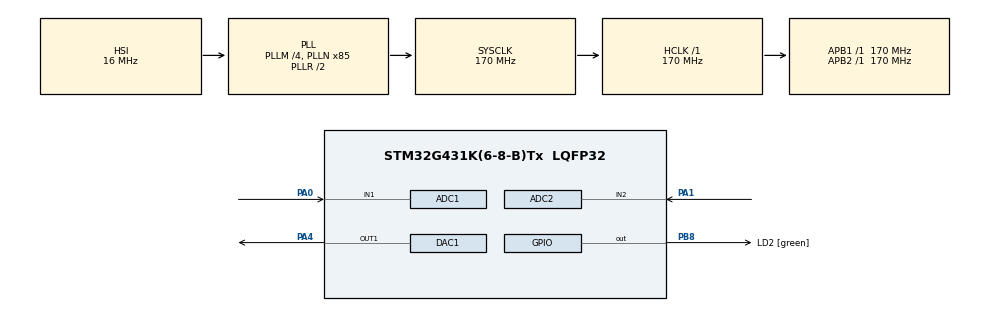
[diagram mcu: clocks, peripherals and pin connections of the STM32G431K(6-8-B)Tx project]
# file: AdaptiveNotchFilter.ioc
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ADC1.Channel-2\#ChannelRegularConversion=ADC_CHANNEL_1
ADC1.ClockPrescaler=ADC_CLOCK_ASYNC_DIV4
ADC1.ContinuousConvMode=DISABLE
ADC1.DMAAccessModeView=ENABLE
ADC1.DMAContinuousRequests=ENABLE
ADC1.ExternalTrigConv=ADC_EXTERNALTRIG_T6_TRGO
ADC1.Mode=ADC_DUALMODE_REGSIMULT
ADC1.NbrOfConversionFlag=1
ADC1.OffsetNumber-2\#ChannelRegularConversion=ADC_OFFSET_NONE
ADC1.OversamplingMode=ENABLE
ADC1.Rank-2\#ChannelRegularConversion=1
ADC1.Ratio=ADC_OVERSAMPLING_RATIO_256
ADC1.RightBitShift=ADC_RIGHTBITSHIFT_8
ADC1.SamplingTime-2\#ChannelRegularConversion=ADC_SAMPLETIME_2CYCLES_5
ADC1.master=1
ADC2.Channel-2\#ChannelRegularConversion=ADC_CHANNEL_2
ADC2.ClockPrescaler=ADC_CLOCK_ASYNC_DIV4
ADC2.DMAAccessModeView=ENABLE
ADC2.Mode=ADC_DUALMODE_REGSIMULT
ADC2.NbrOfConversionFlag=1
ADC2.OffsetNumber-2\#ChannelRegularConversion=ADC_OFFSET_NONE
ADC2.OversamplingMode=ENABLE
ADC2.OversamplingStopReset=ADC_REGOVERSAMPLING_CONTINUED_MODE
ADC2.Rank-2\#ChannelRegularConversion=1
ADC2.Ratio=ADC_OVERSAMPLING_RATIO_256
ADC2.RightBitShift=ADC_RIGHTBITSHIFT_8
ADC2.SamplingTime-2\#ChannelRegularConversion=ADC_SAMPLETIME_2CYCLES_5
DAC1.DAC_Trigger_OUT1-DAC_OUT1=DAC_TRIGGER_T6_TRGO
Dma.ADC1.0.Direction=DMA_PERIPH_TO_MEMORY
Dma.ADC1.0.EventEnable=DISABLE
Dma.ADC1.0.Instance=DMA1_Channel1
Dma.ADC1.0.MemDataAlignment=DMA_MDATAALIGN_WORD
Dma.ADC1.0.MemInc=DMA_MINC_ENABLE
Dma.ADC1.0.Mode=DMA_CIRCULAR
Dma.ADC1.0.PeriphDataAlignment=DMA_PDATAALIGN_WORD
Dma.ADC1.0.PeriphInc=DMA_PINC_DISABLE
Dma.ADC1.0.Polarity=HAL_DMAMUX_REQ_GEN_RISING
Dma.ADC1.0.Priority=DMA_PRIORITY_MEDIUM
Dma.ADC1.0.RequestNumber=1
Dma.ADC1.0.SignalID=NONE
Dma.ADC1.0.SyncEnable=DISABLE
Dma.ADC1.0.SyncPolarity=HAL_DMAMUX_SYNC_NO_EVENT
Dma.ADC1.0.SyncRequestNumber=1
Dma.ADC1.0.SyncSignalID=NONE
Dma.DAC1_CH1.1.Direction=DMA_MEMORY_TO_PERIPH
Dma.DAC1_CH1.1.EventEnable=DISABLE
Dma.DAC1_CH1.1.Instance=DMA2_Channel2
Dma.DAC1_CH1.1.MemDataAlignment=DMA_MDATAALIGN_WORD
Dma.DAC1_CH1.1.MemInc=DMA_MINC_ENABLE
Dma.DAC1_CH1.1.Mode=DMA_CIRCULAR
Dma.DAC1_CH1.1.PeriphDataAlignment=DMA_PDATAALIGN_WORD
Dma.DAC1_CH1.1.PeriphInc=DMA_PINC_DISABLE
Dma.DAC1_CH1.1.Polarity=HAL_DMAMUX_REQ_GEN_RISING
Dma.DAC1_CH1.1.Priority=DMA_PRIORITY_HIGH
Dma.DAC1_CH1.1.RequestNumber=1
Dma.DAC1_CH1.1.SignalID=NONE
Dma.DAC1_CH1.1.SyncEnable=DISABLE
Dma.DAC1_CH1.1.SyncPolarity=HAL_DMAMUX_SYNC_NO_EVENT
Dma.DAC1_CH1.1.SyncRequestNumber=1
Dma.DAC1_CH1.1.SyncSignalID=NONE
Dma.Request0=ADC1
Dma.Request1=DAC1_CH1
Mcu.Family=STM32G4
Mcu.Name=STM32G431K(6-8-B)Tx
Mcu.Package=LQFP32
NVIC.DMA1_Channel1_IRQn=true\:0\:0\:false\:false\:true\:false\:true\:true
NVIC.DMA2_Channel2_IRQn=true\:0\:0\:false\:false\:true\:false\:true\:true
NVIC.PriorityGroup=NVIC_PRIORITYGROUP_4
PA0.Mode=IN1-Single-Ended
PA0.Signal=ADC1_IN1
PA1.Mode=IN2-Single-Ended
PA1.Signal=ADC2_IN2
PA13.GPIO_Label=T_SWDIO
PA13.Mode=Serial_Wire
PA13.Signal=SYS_JTMS-SWDIO
PA14.GPIO_Label=T_SWCLK
PA14.Mode=Serial_Wire
PA14.Signal=SYS_JTCK-SWCLK
PA4.Signal=COMP_DAC11_group
PB3.GPIO_Label=T_SWO
PB3.Signal=SYS_JTDO-SWO
PB8-BOOT0.GPIO_Label=LD2 [green]
PB8-BOOT0.Signal=GPIO_Output
ProjectManager.HeapSize=0x200
ProjectManager.StackSize=0x400
ProjectManager.TargetToolchain=STM32CubeIDE
RCC.ADC12Freq_Value=170000000
RCC.AHBFreq_Value=170000000
RCC.APB1Freq_Value=170000000
RCC.APB1TimFreq_Value=170000000
RCC.APB2Freq_Value=170000000
RCC.APB2TimFreq_Value=170000000
RCC.CortexFreq_Value=170000000
RCC.EXTERNAL_CLOCK_VALUE=12288000
RCC.HCLKFreq_Value=170000000
RCC.HSE_VALUE=24000000
RCC.HSI48_VALUE=48000000
RCC.HSI_VALUE=16000000
RCC.LSE_VALUE=32768
RCC.PLLM=RCC_PLLM_DIV4
RCC.PLLN=85
RCC.SYSCLKFreq_VALUE=170000000
RCC.SYSCLKSource=RCC_SYSCLKSOURCE_PLLCLK
RCC.USBFreq_Value=170000000
RCC.VCOOutputFreq_Value=340000000
SH.COMP_DAC11_group.0=DAC1_OUT1,DAC_OUT1
TIM6.PeriodNoDither=1000-1
TIM6.Prescaler=170-1
TIM6.TIM_MasterOutputTrigger=TIM_TRGO_UPDATE
VP_TIM6_VS_ClockSourceINT.Mode=Enable_Timer
board=NUCLEO-G431KB

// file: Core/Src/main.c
/* USER CODE BEGIN Header */
/**
 ******************************************************************************
 * @file           : main.c
 * @brief          : Main program body
 ******************************************************************************
 * @attention
 *
 * Copyright (c) 2023 STMicroelectronics.
 * All rights reserved.
 *
 * This software is licensed under terms that can be found in the LICENSE file
 * in the root directory of this software component.
 * If no LICENSE file comes with this software, it is provided AS-IS.
 *
 ******************************************************************************
 */
/* USER CODE END Header */
#include "main.h"

/* USER CODE BEGIN Includes */
#include <notch_filter.h>

/* USER CODE END Includes */

/* USER CODE BEGIN PTD */

// Input buffer type for Multimode ADC
typedef union buf{
	uint32_t CDR;
	struct {
		uint16_t inp;
		uint16_t ref;
	};
} inp_buf;

/* USER CODE END PTD */

/* USER CODE BEGIN PD */
#define FS 1000				// Sample Rate (based on configuration of TIM6)
#define FN_INIT FS / 4.0	// Initial Notch Frequency

#define R_ANF 0.6			// Magnitude of r for the reference notch filter
#define R_NF 0.9			// Magnitude of r for the input notch filter
#define LAMBDA 0.4			// Learning Gain

//#define LOG					// uncomment to log

/* USER CODE END PD */

ADC_HandleTypeDef hadc1;
ADC_HandleTypeDef hadc2;
DMA_HandleTypeDef hdma_adc1;

DAC_HandleTypeDef hdac1;
DMA_HandleTypeDef hdma_dac1_ch1;

TIM_HandleTypeDef htim6;

void SystemClock_Config(void);
static void MX_GPIO_Init(void);
static void MX_DMA_Init(void);
static void MX_ADC1_Init(void);
static void MX_TIM6_Init(void);
static void MX_ADC2_Init(void);
static void MX_DAC1_Init(void);

/* USER CODE BEGIN 0 */

// Filter Objects
NotchFilter nf;
NotchFilter anf;

// Parameter Buffers
double an[halfBUF_SIZE];

// Signal Buffers
inp_buf  inputBuffer[BUF_SIZE];
uint32_t ADC_inp[BUF_SIZE];
uint32_t ADC_ref[BUF_SIZE];

uint32_t DAC_out[BUF_SIZE];
uint32_t DAC_err[BUF_SIZE];

#ifdef LOG
// Log Variables
uint32_t ADC_input;
uint32_t ADC_reference;
uint32_t DAC_output;
uint32_t DAC_error;
int32_t  fn;
#endif

/* USER CODE END 0 */

int main(void)
{

  /* MCU Configuration--------------------------------------------------------*/

  /* Reset of all peripherals, Initializes the Flash interface and the Systick. */
  HAL_Init();

  /* Configure the system clock */
  SystemClock_Config();

  /* Initialize all configured peripherals */
  MX_GPIO_Init();
  MX_DMA_Init();
  MX_ADC1_Init();
  MX_TIM6_Init();
  MX_ADC2_Init();
  MX_DAC1_Init();
  /* USER CODE BEGIN 2 */
	// Initialise Notch Filters
	NF_Init(&nf,  R_NF,  FN_INIT, FS);
	NF_Init(&anf, R_ANF, FN_INIT, FS);

//	NF_SetNotchFreq(&anf, 250, FS);

	// Start Peripherals
	if (HAL_ADCEx_Calibration_Start(&hadc1, ADC_SINGLE_ENDED) != HAL_OK) {
		Error_Handler(); }
	if (HAL_ADCEx_Calibration_Start(&hadc2, ADC_SINGLE_ENDED) != HAL_OK) {
		Error_Handler(); }
	if (HAL_ADCEx_MultiModeStart_DMA(&hadc1, &inputBuffer->CDR, BUF_SIZE) != HAL_OK) {
		Error_Handler(); }

	if (HAL_DAC_Start_DMA(&hdac1, DAC_CHANNEL_1, DAC_err, BUF_SIZE, DAC_ALIGN_12B_R) != HAL_OK) {
		Error_Handler(); }

	if (HAL_TIM_Base_Start(&htim6) != HAL_OK) {
		Error_Handler(); }

  /* USER CODE END 2 */

  /* Infinite loop */
	while (1)
	{

	}
}

void SystemClock_Config(void)
{
  RCC_OscInitTypeDef RCC_OscInitStruct = {0};
  RCC_ClkInitTypeDef RCC_ClkInitStruct = {0};

  /** Configure the main internal regulator output voltage
  */
  HAL_PWREx_ControlVoltageScaling(PWR_REGULATOR_VOLTAGE_SCALE1_BOOST);

  /** Initializes the RCC Oscillators according to the specified parameters
  * in the RCC_OscInitTypeDef structure.
  */
  RCC_OscInitStruct.OscillatorType = RCC_OSCILLATORTYPE_HSI;
  RCC_OscInitStruct.HSIState = RCC_HSI_ON;
  RCC_OscInitStruct.HSICalibrationValue = RCC_HSICALIBRATION_DEFAULT;
  RCC_OscInitStruct.PLL.PLLState = RCC_PLL_ON;
  RCC_OscInitStruct.PLL.PLLSource = RCC_PLLSOURCE_HSI;
  RCC_OscInitStruct.PLL.PLLM = RCC_PLLM_DIV4;
  RCC_OscInitStruct.PLL.PLLN = 85;
  RCC_OscInitStruct.PLL.PLLP = RCC_PLLP_DIV2;
  RCC_OscInitStruct.PLL.PLLQ = RCC_PLLQ_DIV2;
  RCC_OscInitStruct.PLL.PLLR = RCC_PLLR_DIV2;
  if (HAL_RCC_OscConfig(&RCC_OscInitStruct) != HAL_OK)
  {
    Error_Handler();
  }

  /** Initializes the CPU, AHB and APB buses clocks
  */
  RCC_ClkInitStruct.ClockType = RCC_CLOCKTYPE_HCLK|RCC_CLOCKTYPE_SYSCLK
                              |RCC_CLOCKTYPE_PCLK1|RCC_CLOCKTYPE_PCLK2;
  RCC_ClkInitStruct.SYSCLKSource = RCC_SYSCLKSOURCE_PLLCLK;
  RCC_ClkInitStruct.AHBCLKDivider = RCC_SYSCLK_DIV1;
  RCC_ClkInitStruct.APB1CLKDivider = RCC_HCLK_DIV1;
  RCC_ClkInitStruct.APB2CLKDivider = RCC_HCLK_DIV1;

  if (HAL_RCC_ClockConfig(&RCC_ClkInitStruct, FLASH_LATENCY_4) != HAL_OK)
  {
    Error_Handler();
  }
}

static void MX_ADC1_Init(void)
{

  ADC_MultiModeTypeDef multimode = {0};
  ADC_ChannelConfTypeDef sConfig = {0};

  /** Common config
  */
  hadc1.Instance = ADC1;
  hadc1.Init.ClockPrescaler = ADC_CLOCK_ASYNC_DIV4;
  hadc1.Init.Resolution = ADC_RESOLUTION_12B;
  hadc1.Init.DataAlign = ADC_DATAALIGN_RIGHT;
  hadc1.Init.GainCompensation = 0;
  hadc1.Init.ScanConvMode = ADC_SCAN_DISABLE;
  hadc1.Init.EOCSelection = ADC_EOC_SINGLE_CONV;
  hadc1.Init.LowPowerAutoWait = DISABLE;
  hadc1.Init.ContinuousConvMode = DISABLE;
  hadc1.Init.NbrOfConversion = 1;
  hadc1.Init.DiscontinuousConvMode = DISABLE;
  hadc1.Init.ExternalTrigConv = ADC_EXTERNALTRIG_T6_TRGO;
  hadc1.Init.ExternalTrigConvEdge = ADC_EXTERNALTRIGCONVEDGE_RISING;
  hadc1.Init.DMAContinuousRequests = ENABLE;
  hadc1.Init.Overrun = ADC_OVR_DATA_PRESERVED;
  hadc1.Init.OversamplingMode = ENABLE;
  hadc1.Init.Oversampling.Ratio = ADC_OVERSAMPLING_RATIO_256;
  hadc1.Init.Oversampling.RightBitShift = ADC_RIGHTBITSHIFT_8;
  hadc1.Init.Oversampling.TriggeredMode = ADC_TRIGGEREDMODE_SINGLE_TRIGGER;
  hadc1.Init.Oversampling.OversamplingStopReset = ADC_REGOVERSAMPLING_CONTINUED_MODE;
  if (HAL_ADC_Init(&hadc1) != HAL_OK)
  {
    Error_Handler();
  }

  /** Configure the ADC multi-mode
  */
  multimode.Mode = ADC_DUALMODE_REGSIMULT;
  multimode.DMAAccessMode = ADC_DMAACCESSMODE_12_10_BITS;
  multimode.TwoSamplingDelay = ADC_TWOSAMPLINGDELAY_1CYCLE;
  if (HAL_ADCEx_MultiModeConfigChannel(&hadc1, &multimode) != HAL_OK)
  {
    Error_Handler();
  }

  /** Configure Regular Channel
  */
  sConfig.Channel = ADC_CHANNEL_1;
  sConfig.Rank = ADC_REGULAR_RANK_1;
  sConfig.SamplingTime = ADC_SAMPLETIME_2CYCLES_5;
  sConfig.SingleDiff = ADC_SINGLE_ENDED;
  sConfig.OffsetNumber = ADC_OFFSET_NONE;
  sConfig.Offset = 0;
  if (HAL_ADC_ConfigChannel(&hadc1, &sConfig) != HAL_OK)
  {
    Error_Handler();
  }

}

static void MX_ADC2_Init(void)
{

  ADC_ChannelConfTypeDef sConfig = {0};

  /** Common config
  */
  hadc2.Instance = ADC2;
  hadc2.Init.ClockPrescaler = ADC_CLOCK_ASYNC_DIV4;
  hadc2.Init.Resolution = ADC_RESOLUTION_12B;
  hadc2.Init.DataAlign = ADC_DATAALIGN_RIGHT;
  hadc2.Init.GainCompensation = 0;
  hadc2.Init.ScanConvMode = ADC_SCAN_DISABLE;
  hadc2.Init.EOCSelection = ADC_EOC_SINGLE_CONV;
  hadc2.Init.LowPowerAutoWait = DISABLE;
  hadc2.Init.ContinuousConvMode = DISABLE;
  hadc2.Init.NbrOfConversion = 1;
  hadc2.Init.DiscontinuousConvMode = DISABLE;
  hadc2.Init.DMAContinuousRequests = DISABLE;
  hadc2.Init.Overrun = ADC_OVR_DATA_PRESERVED;
  hadc2.Init.OversamplingMode = ENABLE;
  hadc2.Init.Oversampling.Ratio = ADC_OVERSAMPLING_RATIO_256;
  hadc2.Init.Oversampling.RightBitShift = ADC_RIGHTBITSHIFT_8;
  hadc2.Init.Oversampling.TriggeredMode = ADC_TRIGGEREDMODE_SINGLE_TRIGGER;
  hadc2.Init.Oversampling.OversamplingStopReset = ADC_REGOVERSAMPLING_CONTINUED_MODE;
  if (HAL_ADC_Init(&hadc2) != HAL_OK)
  {
    Error_Handler();
  }

  /** Configure Regular Channel
  */
  sConfig.Channel = ADC_CHANNEL_2;
  sConfig.Rank = ADC_REGULAR_RANK_1;
  sConfig.SamplingTime = ADC_SAMPLETIME_2CYCLES_5;
  sConfig.SingleDiff = ADC_SINGLE_ENDED;
  sConfig.OffsetNumber = ADC_OFFSET_NONE;
  sConfig.Offset = 0;
  if (HAL_ADC_ConfigChannel(&hadc2, &sConfig) != HAL_OK)
  {
    Error_Handler();
  }

}

static void MX_DAC1_Init(void)
{

  DAC_ChannelConfTypeDef sConfig = {0};

  /** DAC Initialization
  */
  hdac1.Instance = DAC1;
  if (HAL_DAC_Init(&hdac1) != HAL_OK)
  {
    Error_Handler();
  }

  /** DAC channel OUT1 config
  */
  sConfig.DAC_HighFrequency = DAC_HIGH_FREQUENCY_INTERFACE_MODE_AUTOMATIC;
  sConfig.DAC_DMADoubleDataMode = DISABLE;
  sConfig.DAC_SignedFormat = DISABLE;
  sConfig.DAC_SampleAndHold = DAC_SAMPLEANDHOLD_DISABLE;
  sConfig.DAC_Trigger = DAC_TRIGGER_T6_TRGO;
  sConfig.DAC_Trigger2 = DAC_TRIGGER_NONE;
  sConfig.DAC_OutputBuffer = DAC_OUTPUTBUFFER_ENABLE;
  sConfig.DAC_ConnectOnChipPeripheral = DAC_CHIPCONNECT_EXTERNAL;
  sConfig.DAC_UserTrimming = DAC_TRIMMING_FACTORY;
  if (HAL_DAC_ConfigChannel(&hdac1, &sConfig, DAC_CHANNEL_1) != HAL_OK)
  {
    Error_Handler();
  }

}

static void MX_TIM6_Init(void)
{

  TIM_MasterConfigTypeDef sMasterConfig = {0};

  htim6.Instance = TIM6;
  htim6.Init.Prescaler = 170-1;
  htim6.Init.CounterMode = TIM_COUNTERMODE_UP;
  htim6.Init.Period = 999;
  htim6.Init.AutoReloadPreload = TIM_AUTORELOAD_PRELOAD_DISABLE;
  if (HAL_TIM_Base_Init(&htim6) != HAL_OK)
  {
    Error_Handler();
  }
  sMasterConfig.MasterOutputTrigger = TIM_TRGO_UPDATE;
  sMasterConfig.MasterSlaveMode = TIM_MASTERSLAVEMODE_DISABLE;
  if (HAL_TIMEx_MasterConfigSynchronization(&htim6, &sMasterConfig) != HAL_OK)
  {
    Error_Handler();
  }

}

static void MX_DMA_Init(void)
{

  /* DMA controller clock enable */
  __HAL_RCC_DMAMUX1_CLK_ENABLE();
  __HAL_RCC_DMA1_CLK_ENABLE();
  __HAL_RCC_DMA2_CLK_ENABLE();

  /* DMA interrupt init */
  /* DMA1_Channel1_IRQn interrupt configuration */
  HAL_NVIC_SetPriority(DMA1_Channel1_IRQn, 0, 0);
  HAL_NVIC_EnableIRQ(DMA1_Channel1_IRQn);
  /* DMA2_Channel2_IRQn interrupt configuration */
  HAL_NVIC_SetPriority(DMA2_Channel2_IRQn, 0, 0);
  HAL_NVIC_EnableIRQ(DMA2_Channel2_IRQn);

}

static void MX_GPIO_Init(void)
{
  GPIO_InitTypeDef GPIO_InitStruct = {0};

  /* GPIO Ports Clock Enable */
  __HAL_RCC_GPIOA_CLK_ENABLE();
  __HAL_RCC_GPIOB_CLK_ENABLE();

  /*Configure GPIO pin Output Level */
  HAL_GPIO_WritePin(LD2_GPIO_Port, LD2_Pin, GPIO_PIN_RESET);

  /*Configure GPIO pin : LD2_Pin */
  GPIO_InitStruct.Pin = LD2_Pin;
  GPIO_InitStruct.Mode = GPIO_MODE_OUTPUT_PP;
  GPIO_InitStruct.Pull = GPIO_NOPULL;
  GPIO_InitStruct.Speed = GPIO_SPEED_FREQ_LOW;
  HAL_GPIO_Init(LD2_GPIO_Port, &GPIO_InitStruct);

}

/* USER CODE BEGIN 4 */
void BlockProcess(uint32_t start, uint32_t end) {
	// Input Buffer Transfer to uint32_t
	for (uint32_t i = start; i < end; i++) {
		ADC_inp[i] = inputBuffer[i].inp;
		ADC_ref[i] = inputBuffer[i].ref;
	}

	// Filtering
	ANF_BlockFilter_dbl(&anf, &ADC_ref[start], &DAC_err[start], halfBUF_SIZE, ADAPT, an, LAMBDA);
	ANF_BlockFilter_dbl(&nf,  &ADC_inp[start], &DAC_out[start], halfBUF_SIZE, FEED,  an, 0);

#ifdef LOG
	ADC_input = ADC_inp[0];
	ADC_reference = ADC_ref[0];
	DAC_error = DAC_err[0];
	DAC_output = DAC_out[0];
	fn = (int32_t)(acos(an[0]/2)/(2*M_PI/FS));
#endif
}

void HAL_ADC_ConvHalfCpltCallback(ADC_HandleTypeDef *hadc) {
	BlockProcess(0, halfBUF_SIZE);

	//Reset Half Transfer Complete Flag
	hadc1.DMA_Handle->DmaBaseAddress->IFCR |= (uint32_t)DMA_ISR_HTIF1;
}

void HAL_ADC_ConvCpltCallback(ADC_HandleTypeDef *hadc) {
	BlockProcess(halfBUF_SIZE, BUF_SIZE);

	// Reset Half Transfer Complete Flag
	hadc1.DMA_Handle->DmaBaseAddress->IFCR |= (uint32_t)DMA_ISR_TCIF1;
}

/* USER CODE END 4 */

void Error_Handler(void)
{
	__disable_irq();
	while (1)
	{
	}
}
